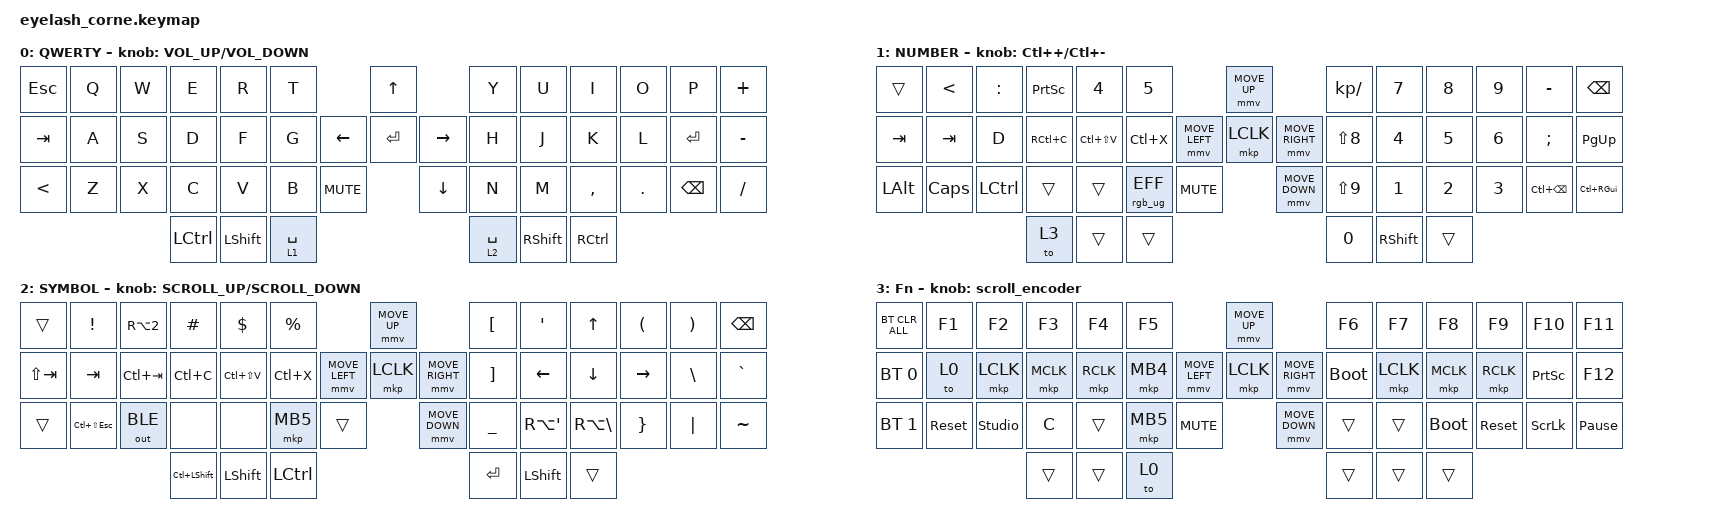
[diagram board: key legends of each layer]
#include <dt-bindings/zmk/mouse.h>
#include <input/processors.dtsi>
#include <behaviors.dtsi>
#include <dt-bindings/zmk/bt.h>
#include <dt-bindings/zmk/keys.h>
#include <dt-bindings/zmk/outputs.h>
#include <dt-bindings/zmk/pointing.h>
#include <dt-bindings/zmk/rgb.h>

/*

   &mmv_input_listener {
       input-processors = <&zip_xy_scaler 2 1>;
   };

   &msc_input_listener {
       input-processors = <&zip_xy_scaler 2 1>;
   };

 */

#define ZMK_MOUSE_DEFAULT_MOVE_VAL 1200  // 600
#define ZMK_MOUSE_DEFAULT_SCRL_VAL 20    // 10

/ {
    behaviors {
        td0: td0 {
            compatible = "zmk,behavior-tap-dance";
            display-name = "Shift/Caps Lock Tap Dance";
            #binding-cells = <0>;
            bindings = <&kp LEFT_SHIFT>, <&kp CAPS>;
        };
    };

    rgb_encoder: rgb_encoder {
        compatible = "zmk,behavior-sensor-rotate";
        #sensor-binding-cells = <0>;
        bindings = <&rgb_ug RGB_BRI>, <&rgb_ug RGB_BRD>;
    };

    scroll_encoder: scroll_encoder {
        compatible = "zmk,behavior-sensor-rotate";
        #sensor-binding-cells = <0>;
        bindings = <&msc SCRL_DOWN>, <&msc SCRL_UP>;

        tap-ms = <30>;
    };

    keymap {
        compatible = "zmk,keymap";

        default_layer {
            display-name = "QWERTY";
            bindings = <
&kp ESCAPE     &kp Q  &kp W  &kp E      &kp R      &kp T                                &kp UP                &kp Y        &kp U      &kp I      &kp O    &kp P          &kp PLUS
&kp TAB        &kp A  &kp S  &kp D      &kp F      &kp G                      &kp LEFT  &kp ENTER  &kp RIGHT  &kp H        &kp J      &kp K      &kp L    &kp ENTER      &kp MINUS
&kp LESS_THAN  &kp Z  &kp X  &kp C      &kp V      &kp B        &kp C_MUTE              &kp DOWN              &kp N        &kp M      &kp COMMA  &kp DOT  &kp BACKSPACE  &kp SLASH
                             &kp LCTRL  &kp LSHFT  &lt 1 SPACE                                                &lt 2 SPACE  &kp RSHFT  &kp RCTRL
            >;

            sensor-bindings = <&inc_dec_kp C_VOLUME_UP C_VOLUME_DOWN>;
        };

        lower_layer {
            display-name = "NUMBER";
            bindings = <
&trans        &kp LESS_THAN  &kp COLON  &kp PRINTSCREEN  &kp N4         &kp N5                                         &mmv MOVE_UP                     &kp KP_DIVIDE     &kp N7           &kp N8        &kp N9        &kp MINUS          &kp BSPC
&kp TAB       &kp TAB        &kp D      &kp RC(C)        &kp LC(LS(V))  &kp LC(X)                      &mmv MOVE_LEFT  &mkp LCLK       &mmv MOVE_RIGHT  &kp LS(N8)        &kp NUMBER_4     &kp N5        &kp NUMBER_6  &kp SEMI           &kp PG_UP
&kp LEFT_ALT  &kp CLCK       &kp LCTRL  &trans           &trans         &rgb_ug RGB_EFF  &kp C_MUTE                    &mmv MOVE_DOWN                   &kp LS(NUMBER_9)  &kp NUMBER_1     &kp NUMBER_2  &kp NUMBER_3  &kp LC(BACKSPACE)  &kp LC(RIGHT_GUI)
                                        &to 3            &trans         &trans                                                                          &kp N0            &kp RIGHT_SHIFT  &trans
            >;

            sensor-bindings = <&inc_dec_kp LC(PLUS) LC(MINUS)>;
        };

        raise_layer {
            display-name = "SYMBOL";
            bindings = <
&trans       &kp EXCL            &kp RA(NUMBER_2)  &kp HASH            &kp DLLR       &kp PRCNT                            &mmv MOVE_UP                     &kp LEFT_BRACKET   &kp SINGLE_QUOTE      &kp UP_ARROW    &kp LPAR   &kp RPAR  &kp BSPC
&kp LS(TAB)  &kp TAB             &kp LC(TAB)       &kp LC(C)           &kp LC(LS(V))  &kp LC(X)            &mmv MOVE_LEFT  &mkp LCLK       &mmv MOVE_RIGHT  &kp RIGHT_BRACKET  &kp LEFT_ARROW        &kp DOWN_ARROW  &kp RIGHT  &kp BSLH  &kp GRAVE
&trans       &kp LC(LS(ESCAPE))  &out OUT_BLE      &none               &none          &mkp MB5   &trans                    &mmv MOVE_DOWN                   &kp UNDER          &kp RA(SINGLE_QUOTE)  &kp RA(BSLH)    &kp RBRC   &kp PIPE  &kp TILDE
                                                   &kp LC(LEFT_SHIFT)  &kp LSHFT      &kp LCTRL                                                             &kp RET            &kp LEFT_SHIFT        &trans
            >;

            sensor-bindings = <&inc_dec_kp K_SCROLL_UP K_SCROLL_DOWN>;
        };

        layer_3 {
            display-name = "Fn";
            bindings = <
&bt BT_CLR_ALL  &kp F1      &kp F2          &kp F3     &kp F4     &kp F5                                  &mmv MOVE_UP                     &kp F6       &kp F7     &kp F8       &kp F9      &kp F10          &kp F11
&bt BT_SEL 0    &to 0       &mkp LCLK       &mkp MCLK  &mkp RCLK  &mkp MB4                &mmv MOVE_LEFT  &mkp LCLK       &mmv MOVE_RIGHT  &bootloader  &mkp LCLK  &mkp MCLK    &mkp RCLK   &kp PRINTSCREEN  &kp F12
&bt BT_SEL 1    &sys_reset  &studio_unlock  &kp C      &trans     &mkp MB5  &kp C_MUTE                    &mmv MOVE_DOWN                   &trans       &trans     &bootloader  &sys_reset  &kp SCROLLLOCK   &kp PAUSE_BREAK
                                            &trans     &trans     &to 0                                                                    &trans       &trans     &trans
            >;

            sensor-bindings = <&scroll_encoder>;
        };
    };
};
